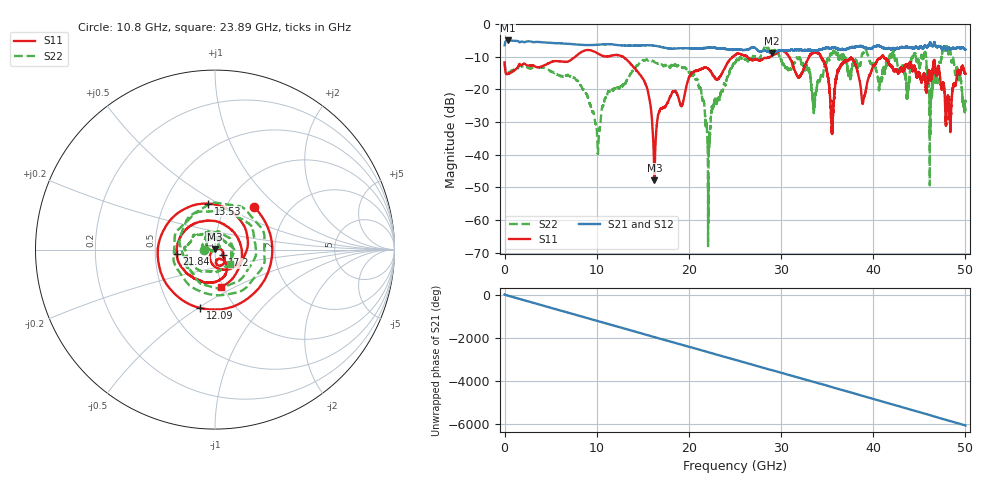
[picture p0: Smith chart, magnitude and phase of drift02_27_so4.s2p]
!Created with skrf (http://scikit-rf.org).
# Hz S RI R 50.0
!freq ReS11 ImS11 ReS21 ImS21 ReS12 ImS12 ReS22 ImS22
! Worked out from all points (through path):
!   10001 points, 300 kHz to 50 GHz, reference 50 ohm
!   highest |S21| = -5.04 dB at 325.3 MHz (marker M1); lowest = -8.9 dB at 28.98 GHz (marker M2)
!   group delay of S21, straight-line fit = 336 ps
!   lowest |S11| = -47.8 dB at 16.25 GHz (marker M3), VSWR 1.01, Z = 49.8 + j0.343 ohm
!   |S11| at or under -10 dB: start of sweep to 7.667 GHz; 12.82 GHz to 24.79 GHz (11.97 GHz wide, 63.7 % of centre); 41.13 GHz to end of sweep (the widest 3 of 9)
!   |S22| runs from -68.0 to -6.7 dB; largest |S21 - S12| = 0.032
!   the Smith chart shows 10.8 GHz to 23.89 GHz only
!   S11 on the Smith chart (normalised r, x): 10.8 GHz: 1.35, +0.71; 12.09 GHz: 0.69, -0.51; 13.53 GHz: 0.82, +0.45; 17.2 GHz: 1.09, -0.07; 21.84 GHz: 0.65, -0.03; 23.89 GHz: 0.98, -0.43
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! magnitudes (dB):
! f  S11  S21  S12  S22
! 300 kHz  -11.8  -6.5  -6.5  -11.7
! 325.3 MHz  -15.3  -5.0  -5.0  -15.1
! 8.335 GHz  -8.6  -6.4  -6.4  -19.1
! 10.11 GHz  -9.0  -6.4  -6.3  -38.1
! 10.8 GHz  -9.9  -6.2  -6.2  -23.9
! 12.09 GHz  -9.5  -6.4  -6.4  -20.3
! 13.53 GHz  -11.7  -6.6  -6.6  -16.0
! 16.25 GHz  -47.8  -6.6  -6.6  -11.6
! 16.67 GHz  -27.7  -6.8  -6.8  -12.2
! 17.2 GHz  -25.6  -7.2  -7.2  -12.8
! 21.84 GHz  -13.4  -7.4  -7.3  -31.6
! 23.89 GHz  -13.5  -7.6  -7.6  -18.5
! 25 GHz  -9.5  -7.8  -7.9  -11.9
! 28.98 GHz  -9.8  -8.9  -8.9  -8.0
! 33.34 GHz  -9.0  -8.0  -8.0  -20.5
! 35.54 GHz  -31.8  -7.3  -7.3  -9.0
! 36.8 GHz  -11.8  -7.8  -7.8  -10.2
! 41.67 GHz  -12.0  -7.3  -7.5  -12.0
! 45.51 GHz  -15.3  -7.0  -6.9  -9.2
! 46.25 GHz  -17.4  -6.1  -6.1  -21.1
! 48.13 GHz  -22.1  -7.2  -7.1  -9.1
! 50 GHz  -15.2  -7.8  -7.9  -23.9
